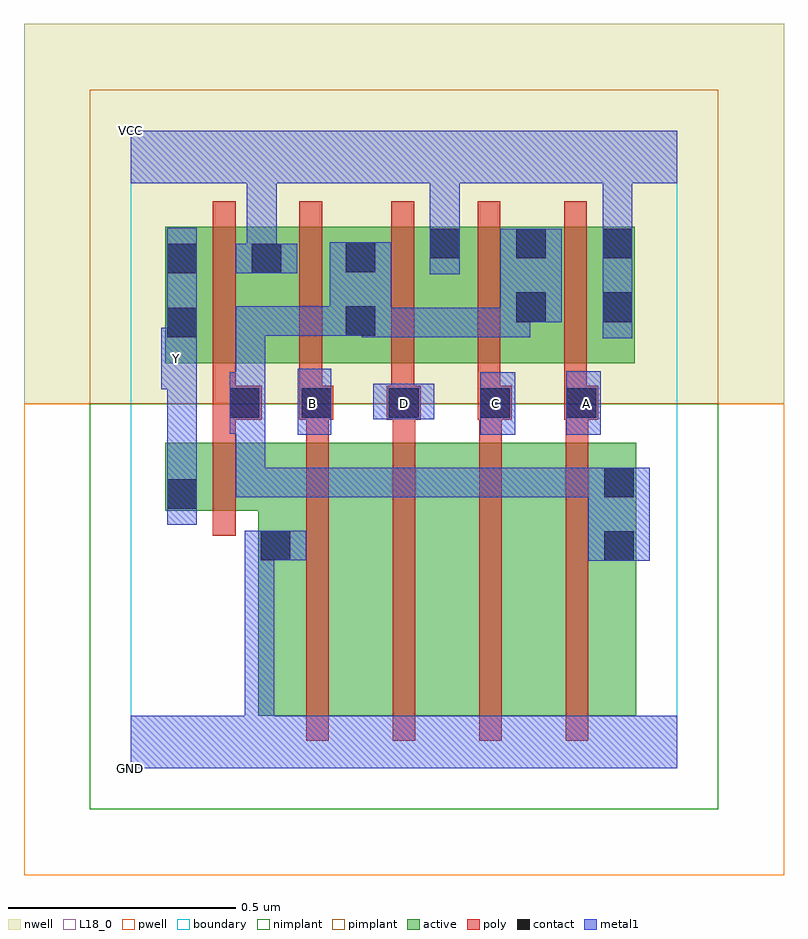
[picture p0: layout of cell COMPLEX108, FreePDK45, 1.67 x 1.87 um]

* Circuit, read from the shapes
.subckt COMPLEX108 A B C D GND VCC Y
M1 GND n1 Y VSUBS nfet w=0.15u l=0.05u
M2 n2 B GND VSUBS nfet w=0.6u l=0.05u
M3 n3 D n2 VSUBS nfet w=0.6u l=0.05u
M4 n4 C n3 VSUBS nfet w=0.6u l=0.05u
M5 n1 A n4 VSUBS nfet w=0.6u l=0.05u
M6 VCC n1 Y n5 pfet w=0.3u l=0.05u
M7 n1 B VCC n5 pfet w=0.3u l=0.05u
M8 VCC D n1 n5 pfet w=0.3u l=0.05u
M9 n1 C VCC n5 pfet w=0.3u l=0.05u
M10 VCC A n1 n5 pfet w=0.3u l=0.05u
.ends

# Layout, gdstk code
import gdstk
lib = gdstk.Library(unit=1e-6, precision=1e-09)
def R(c, l, rs):  # rectangles x0, y0, x1, y1
    for r in rs: c.add(gdstk.rectangle(r[:2], r[2:], *l))
def A(c, l, x, y, w, h, nx, ny, dx, dy):  # array of equal rectangles
    R(c, l, [(x+i*dx, y+j*dy, x+i*dx+w, y+j*dy+h) for i in range(nx) for j in range(ny)])
active = (1, 0)
pwell = (2, 0)
nwell = (3, 0)
nimplant = (4, 0)
pimplant = (5, 0)
poly = (9, 0)
contact = (10, 0)
metal1 = (11, 0)
L18_0 = (18, 0)
boundary = (235, 0)

complex108 = lib.new_cell('COMPLEX108')
R(complex108, active, [(0.28,0.115,0.505,0.715), (0.505,0.115,0.695,0.715), (0.695,0.115,0.885,0.715), (0.885,0.115,1.11,0.715), (1.035,0.145,1.11,0.715), (0.28,0.452,0.355,0.697), (0.075,0.565,0.355,0.715), (0.075,0.565,0.15,0.715), (0.075,0.89,0.15,1.19), (0.075,0.89,0.335,1.19), (0.26,0.89,0.542,1.19), (0.467,0.89,0.727,1.19), (0.467,0.89,0.542,1.167), (0.652,0.89,0.917,1.19), (0.842,0.89,0.917,1.19), (0.842,0.89,1.107,1.19), (1.032,0.89,1.107,1.19), (0.26,1.002,0.335,1.157), (0.652,1.002,0.727,1.19)])
R(complex108, pwell, [(-0.235,-0.235,1.435,0.8)])
R(complex108, nwell, [(-0.235,0.8,1.435,1.635)])
R(complex108, nimplant, [(-0.09,-0.09,1.29,0.8)])
R(complex108, pimplant, [(-0.09,0.8,1.29,1.49)])
A(complex108, poly, 0.385, 0.06, 0.05, 0.71, 4, 1, 0.19, 0)
A(complex108, poly, 0.385, 0.72, 0.05, 0.095, 4, 1, 0.19, 0)
A(complex108, poly, 0.572, 0.79, 0.05, 0.095, 3, 1, 0.19, 0)
A(complex108, poly, 0.572, 0.835, 0.05, 0.41, 3, 1, 0.19, 0)
R(complex108, poly, [(0.18,0.51,0.23,0.77), (0.18,0.72,0.23,0.815), (0.18,0.765,0.287,0.84), (0.37,0.765,0.445,0.84), (0.562,0.765,0.637,0.84), (0.762,0.765,0.837,0.84), (0.952,0.765,1.027,0.84), (0.18,0.79,0.23,0.885), (0.37,0.79,0.42,0.885), (0.18,0.835,0.23,1.245), (0.37,0.835,0.42,1.245)])
A(complex108, contact, 0.657, 1.12, 0.065, 0.065, 3, 1, 0.19, 0)
R(complex108, contact, [(1.04,0.455,1.105,0.52), (0.285,0.457,0.35,0.522), (0.08,0.57,0.145,0.635), (1.04,0.595,1.105,0.66), (0.217,0.77,0.282,0.835), (0.375,0.77,0.44,0.835), (0.567,0.77,0.632,0.835), (0.767,0.77,0.832,0.835), (0.957,0.77,1.022,0.835), (0.08,0.947,0.145,1.012), (0.472,0.95,0.537,1.015), (0.847,0.98,0.912,1.045), (1.037,0.98,1.102,1.045), (0.08,1.087,0.145,1.152), (0.265,1.087,0.33,1.152), (0.472,1.09,0.537,1.155)])
R(complex108, metal1, [(0,0,1.2,0.115), (0.25,0.05,0.315,0.522), (1.005,0.455,1.14,0.66), (0.25,0.457,0.315,0.522), (0.25,0.457,0.315,0.522), (0.25,0.457,0.385,0.522), (0.08,0.535,0.145,0.67), (0.23,0.595,0.295,0.66), (0.23,0.595,0.295,0.87), (0.23,0.595,0.42,0.66), (0.355,0.595,0.42,0.66), (0.355,0.595,0.432,0.66), (0.367,0.595,0.432,0.66), (0.367,0.595,0.557,0.66), (0.492,0.595,0.557,0.66), (0.492,0.595,0.74,0.66), (0.675,0.595,0.74,0.66), (0.675,0.595,0.877,0.66), (0.812,0.595,0.877,0.66), (0.812,0.595,0.877,0.66), (0.812,0.595,0.877,0.66), (0.812,0.595,1.07,0.66), (1.005,0.595,1.07,0.66), (1.005,0.595,1.07,0.66), (0.08,0.605,0.145,0.897), (0.367,0.732,0.44,0.877), (0.767,0.732,0.845,0.87), (0.957,0.732,1.032,0.872), (0.217,0.735,0.282,0.87), (0.532,0.767,0.667,0.845), (0.217,0.805,0.295,0.87), (0.23,0.805,0.295,0.87), (0.23,0.805,0.295,1.015), (0.067,0.832,0.145,0.967), (0.08,0.902,0.145,0.977), (0.08,0.912,0.145,1.187), (1.037,0.945,1.102,1.22), (0.507,0.947,0.74,1.012), (0.507,0.947,0.572,1.015), (0.675,0.947,0.74,1.012), (0.675,0.947,0.877,1.012), (0.812,0.947,0.877,1.045), (0.23,0.95,0.295,1.015), (0.23,0.95,0.42,1.015), (0.355,0.95,0.42,1.015), (0.355,0.95,0.502,1.015), (0.437,0.95,0.572,1.155), (0.507,0.95,0.572,1.015), (0.812,0.98,0.877,1.045), (0.812,0.98,0.947,1.185), (0.657,1.085,0.722,1.22), (0.23,1.087,0.365,1.152), (0.255,1.087,0.32,1.152), (0.255,1.087,0.32,1.152), (0.255,1.087,0.32,1.35), (0.657,1.155,0.722,1.35), (0.657,1.155,0.722,1.22), (0.657,1.155,0.722,1.22), (1.037,1.155,1.102,1.35), (0,1.285,1.2,1.4), (1.037,1.285,1.102,1.35), (1.037,1.285,1.102,1.35)])
A(complex108, L18_0, 0.367, 0.767, 0.065, 0.065, 4, 1, 0.2, 0)
R(complex108, L18_0, [(0,0,1.2,0.115), (0.25,0.05,0.315,0.522), (0.25,0.457,0.315,0.522), (0.25,0.457,0.315,0.522), (0.25,0.457,0.385,0.522), (0.08,0.535,0.145,0.67), (0.08,0.605,0.145,0.897), (0.367,0.732,0.44,0.877), (0.767,0.732,0.845,0.87), (0.957,0.732,1.032,0.872), (0.532,0.767,0.667,0.845), (0.067,0.832,0.145,0.967), (0.067,0.867,0.132,0.932), (0.08,0.902,0.145,0.977), (0.08,0.912,0.145,1.187), (1.037,0.945,1.102,1.22), (0.657,1.085,0.722,1.22), (0.23,1.087,0.365,1.152), (0.255,1.087,0.32,1.152), (0.255,1.087,0.32,1.152), (0.255,1.087,0.32,1.35), (0.657,1.155,0.722,1.22), (0.657,1.155,0.722,1.22), (0.657,1.155,0.722,1.35), (1.037,1.155,1.102,1.35), (0,1.285,1.2,1.4), (1.037,1.285,1.102,1.35), (1.037,1.285,1.102,1.35)])
R(complex108, boundary, [(0,0,1.2,1.4)])
complex108.add(gdstk.Label('A', (1,0.8), layer=11, texttype=0))
complex108.add(gdstk.Label('B', (0.4,0.8), layer=11, texttype=0))
complex108.add(gdstk.Label('C', (0.8,0.8), layer=11, texttype=0))
complex108.add(gdstk.Label('D', (0.6,0.8), layer=11, texttype=0))
complex108.add(gdstk.Label('Y', (0.1,0.9), layer=11, texttype=0))
complex108.add(gdstk.Label('VCC', (0,1.4), layer=11, texttype=0))
complex108.add(gdstk.Label('GND', (0,0), layer=11, texttype=0))

lib.write_gds('COMPLEX108.gds')
